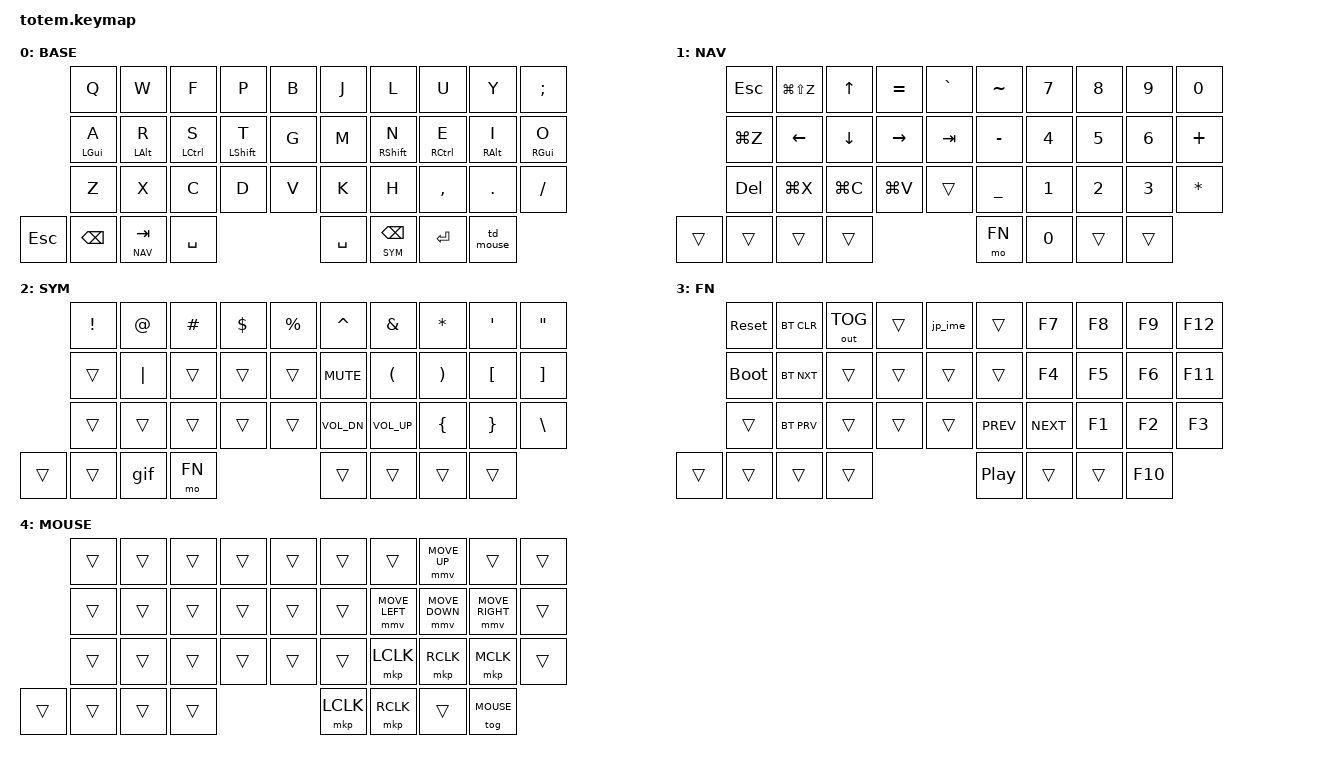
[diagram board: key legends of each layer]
//
//                                                        ▀▀▀▀▀     ▀▀▀▀▀          ▀▀█▀▀
//                                                        ▄▀▀▀▄  ▄  ▄▀▀▀▄  ▄  ▄▀▀▀▄  █  ▄▀▀▀▄
//                                                        █   █  █  █   █  █  █   █  █  █   █
//                                                         ▀▀▀   █   ▀▀▀   █   ▀▀▀   ▀   ▀▀▀
//                                                               █      ▄▄▄█▄▄▄    █   █
//                                                               ▀      █  █  █     █▄█
//                                                             ▀▀▀▀▀    █  █  █      ▀
//                                                                      ▀  ▀  ▀
//
// ▄▄▄▄▄▄▄▄▄▄▄▄▄▄▄▄▄▄▄▄▄▄▄▄▄▄▄▄▄▄▄▄▄▄▄▄▄▄▄▄▄▄▄▄▄▄▄▄▄▄▄▄▄▄▄▄▄▄▄▄▄▄▄▄▄▄▄▄▄▄▄▄▄▄▄▄▄▄▄▄▄▄▄▄▄▄▄▄▄▄▄▄▄▄▄▄▄▄▄▄▄▄▄▄▄▄▄▄▄▄▄▄▄▄▄▄▄▄▄▄▄▄▄▄▄▄▄▄▄▄▄▄▄▄▄▄▄▄▄▄▄▄▄▄▄▄▄▄▄
//
// Matrix position map (from totem.dtsi):
//
//   pos 0-9:   top alpha     (5 left + 5 right)
//   pos 10-19: home row      (5 left + 5 right)
//   pos 20-29: bottom alpha  (5 left + 5 right)
//   pos 30-37: pinky + thumb (pinky_L, 3 thumb_L, 3 thumb_R, pinky_R)
//


#include <behaviors.dtsi>
#include <dt-bindings/zmk/bt.h>
#include <dt-bindings/zmk/keys.h>
#include <dt-bindings/zmk/outputs.h>
#define ZMK_POINTING_DEFAULT_MOVE_VAL 1200
#include <dt-bindings/zmk/pointing.h>

#define BASE  0
#define NAV   1
#define SYM   2
#define FN    3
#define MOUSE 4

&mt {
    quick-tap-ms = <100>;
    require-prior-idle-ms = <150>;
    flavor = "tap-preferred";
    tapping-term-ms = <170>;
};

&mmv {
    time-to-max-speed-ms = <300>;
    acceleration-exponent = <1>;
};

/ {
    combos {
        compatible = "zmk,combos";

        combo_esc {
            timeout-ms = <50>;
            key-positions = <0 1>;
            bindings = <&kp ESC>;
        };

    };

    behaviors {
        td_mouse: td_mouse {
            compatible = "zmk,behavior-tap-dance";
            #binding-cells = <0>;
            tapping-term-ms = <200>;
            bindings = <&kp BSLH>, <&tog MOUSE>;
        };
    };

    macros {
        gif: gif {
            label = "giphy";
            compatible = "zmk,behavior-macro";
            #binding-cells = <0>;
            bindings =
                <&macro_press>,
                <&kp LSHFT>,
                <&macro_tap>,
                <&kp N2>,
                <&macro_release>,
                <&kp LSHFT>,
                <&macro_tap>,
                <&kp G &kp I &kp F>;
        };

        jp_ime: jp_ime {
            label = "jp_ime";
            compatible = "zmk,behavior-macro";
            #binding-cells = <0>;
            bindings =
                <&macro_press>,
                <&kp LCTRL>,
                <&macro_tap>,
                <&kp SPACE>,
                <&macro_release>,
                <&kp LCTRL>;
        };
    };

        keymap {
                compatible = "zmk,keymap";
// ▄▄▄▄▄▄▄▄▄▄▄▄▄▄▄▄▄▄▄▄▄▄▄▄▄▄▄▄▄▄▄▄▄▄▄▄▄▄▄▄▄▄▄▄▄▄▄▄▄▄▄▄▄▄▄▄▄▄▄▄▄▄▄▄▄▄▄▄▄▄▄▄▄▄▄▄▄▄▄▄▄▄▄▄▄▄▄▄▄▄▄▄▄▄▄▄▄▄▄▄▄▄▄▄▄▄▄▄▄▄▄▄▄▄▄▄▄▄▄▄▄▄▄▄▄▄▄▄▄▄▄▄▄▄▄▄▄▄▄▄▄▄▄▄▄▄▄▄▄

                base_layer {
// ┏━━━━━━━━━━━━━━━━━━━━━━━━━━━━━━━━━━━━━━━┓
label= "BASE"                              ;
// ┗━━━━━━━━━━━━━━━━━━━━━━━━━━━━━━━━━━━━━━━┛
//             ┏━━━━━━━━━━━┳━━━━━━━━━━━┳━━━━━━━━━━━┳━━━━━━━━━━━┳━━━━━━━━━━━┓   ┏━━━━━━━━━━━┳━━━━━━━━━━━┳━━━━━━━━━━━┳━━━━━━━━━━━┳━━━━━━━━━━━┓
//             ┃     Q     ┃     W     ┃     F     ┃     P     ┃     B     ┃   ┃     J     ┃     L     ┃     U     ┃     Y     ┃     ;     ┃
//             ┣━━━━━━━━━━━╋━━━━━━━━━━━╋━━━━━━━━━━━╋━━━━━━━━━━━╋━━━━━━━━━━━┫   ┣━━━━━━━━━━━╋━━━━━━━━━━━╋━━━━━━━━━━━╋━━━━━━━━━━━╋━━━━━━━━━━━┫
//             ┃    ⌘ A    ┃    ⌥ R    ┃    ⌃ S    ┃    ⇧ T    ┃     G     ┃   ┃     M     ┃    ⇧ N    ┃    ⌃ E    ┃    ⌥ I    ┃    ⌘ O    ┃
// ┏━━━━━━━━━━━╋━━━━━━━━━━━╋━━━━━━━━━━━╋━━━━━━━━━━━╋━━━━━━━━━━━╋━━━━━━━━━━━┫   ┣━━━━━━━━━━━╋━━━━━━━━━━━╋━━━━━━━━━━━╋━━━━━━━━━━━╋━━━━━━━━━━━╋━━━━━━━━━━━┓
// ┃    ESC    ┃     Z     ┃     X     ┃     C     ┃     D     ┃     V     ┃   ┃     K     ┃     H     ┃     ,     ┃     .     ┃     /     ┃ \ ⇥⇥MOUSE ┃
// ┗━━━━━━━━━━━┻━━━━━━━━━━━┻━━━━━━━━━━━╋━━━━━━━━━━━╋━━━━━━━━━━━╋━━━━━━━━━━━┫   ┣━━━━━━━━━━━╋━━━━━━━━━━━╋━━━━━━━━━━━╋━━━━━━━━━━━┻━━━━━━━━━━━┻━━━━━━━━━━━┛
//                                     ┃   BSPC    ┃ ▼NAV TAB  ┃    SPC    ┃   ┃    SPC    ┃▼SYM BSPC  ┃   ENTER   ┃
//                                     ┗━━━━━━━━━━━┻━━━━━━━━━━━┻━━━━━━━━━━━┛   ┗━━━━━━━━━━━┻━━━━━━━━━━━┻━━━━━━━━━━━┛
 bindings = <
// ╷           ╷           ╷           ╷           ╷           ╷   ╷           ╷           ╷           ╷           ╷           ╷
// pos 0-9:   top row
                &kp Q       &kp W       &kp F       &kp P       &kp B           &kp J       &kp L       &kp U       &kp Y       &kp SEMI
// pos 10-19: home row (home row mods)
                &mt LGUI A  &mt LALT R  &mt LCTRL S &mt LSHFT T &kp G           &kp M       &mt RSHFT N &mt RCTRL E &mt RALT I  &mt RGUI O
// pos 20-29: bottom alpha row
                &kp Z       &kp X       &kp C       &kp D       &kp V           &kp K       &kp H       &kp COMMA   &kp DOT     &kp FSLH
// pos 30-37: pinky_L, thumb_L x3, thumb_R x3, pinky_R
    &kp ESC     &kp BSPC    &lt NAV TAB &kp SPACE                               &kp SPACE   &lt SYM BSPC &kp RET    &td_mouse
                        >;
                };

// ▄▄▄▄▄▄▄▄▄▄▄▄▄▄▄▄▄▄▄▄▄▄▄▄▄▄▄▄▄▄▄▄▄▄▄▄▄▄▄▄▄▄▄▄▄▄▄▄▄▄▄▄▄▄▄▄▄▄▄▄▄▄▄▄▄▄▄▄▄▄▄▄▄▄▄▄▄▄▄▄▄▄▄▄▄▄▄▄▄▄▄▄▄▄▄▄▄▄▄▄▄▄▄▄▄▄▄▄▄▄▄▄▄▄▄▄▄▄▄▄▄▄▄▄▄▄▄▄▄▄▄▄▄▄▄▄▄▄▄▄▄▄▄▄▄▄▄▄▄


                nav_layer {
// ┏━━━━━━━━━━━━━━━━━━━━━━━━━━━━━━━━━━━━━━━┓
label= "NAV"                               ;
// ┗━━━━━━━━━━━━━━━━━━━━━━━━━━━━━━━━━━━━━━━┛
//             ┏━━━━━━━━━━━┳━━━━━━━━━━━┳━━━━━━━━━━━┳━━━━━━━━━━━┳━━━━━━━━━━━┓   ┏━━━━━━━━━━━┳━━━━━━━━━━━┳━━━━━━━━━━━┳━━━━━━━━━━━┳━━━━━━━━━━━┓
//             ┃    ESC    ┃   REDO    ┃     UP    ┃     =     ┃     `     ┃   ┃     ~     ┃     7     ┃     8     ┃     9     ┃     0     ┃
//             ┣━━━━━━━━━━━╋━━━━━━━━━━━╋━━━━━━━━━━━╋━━━━━━━━━━━╋━━━━━━━━━━━┫   ┣━━━━━━━━━━━╋━━━━━━━━━━━╋━━━━━━━━━━━╋━━━━━━━━━━━╋━━━━━━━━━━━┫
//             ┃   UNDO    ┃   LEFT    ┃    DOWN   ┃   RIGHT   ┃    TAB    ┃   ┃     -     ┃     4     ┃     5     ┃     6     ┃     +     ┃
// ┏━━━━━━━━━━━╋━━━━━━━━━━━╋━━━━━━━━━━━╋━━━━━━━━━━━╋━━━━━━━━━━━╋━━━━━━━━━━━┫   ┣━━━━━━━━━━━╋━━━━━━━━━━━╋━━━━━━━━━━━╋━━━━━━━━━━━╋━━━━━━━━━━━╋━━━━━━━━━━━┓
// ┃           ┃    DEL    ┃    CUT    ┃   COPY    ┃   PASTE   ┃           ┃   ┃     _     ┃     1     ┃     2     ┃     3     ┃     *     ┃           ┃
// ┗━━━━━━━━━━━┻━━━━━━━━━━━┻━━━━━━━━━━━╋━━━━━━━━━━━╋━━━━━━━━━━━╋━━━━━━━━━━━┫   ┣━━━━━━━━━━━╋━━━━━━━━━━━╋━━━━━━━━━━━╋━━━━━━━━━━━┻━━━━━━━━━━━┻━━━━━━━━━━━┛
//                                     ┃           ┃ ███ NAV ██┃           ┃   ┃   ▼ FN    ┃     0     ┃           ┃
//                                     ┗━━━━━━━━━━━┻━━━━━━━━━━━┻━━━━━━━━━━━┛   ┗━━━━━━━━━━━┻━━━━━━━━━━━┻━━━━━━━━━━━┛
 bindings = <
// pos 0-9:   top row
                &kp ESC     &kp LG(LS(Z))  &kp UP   &kp EQUAL   &kp GRAVE       &kp TILDE   &kp N7      &kp N8      &kp N9      &kp N0
// pos 10-19: home row
                &kp LG(Z)   &kp LEFT    &kp DOWN    &kp RIGHT   &kp TAB         &kp MINUS   &kp N4      &kp N5      &kp N6      &kp PLUS
// pos 20-29: bottom alpha row
                &kp DEL     &kp LG(X)   &kp LG(C)   &kp LG(V)   &trans          &kp UNDER   &kp N1      &kp N2      &kp N3      &kp STAR
// pos 30-37: pinky_L, thumb_L x3, thumb_R x3, pinky_R
    &trans      &trans      &trans      &trans                                    &mo FN      &kp N0      &trans      &trans
                        >;
                };

// ▄▄▄▄▄▄▄▄▄▄▄▄▄▄▄▄▄▄▄▄▄▄▄▄▄▄▄▄▄▄▄▄▄▄▄▄▄▄▄▄▄▄▄▄▄▄▄▄▄▄▄▄▄▄▄▄▄▄▄▄▄▄▄▄▄▄▄▄▄▄▄▄▄▄▄▄▄▄▄▄▄▄▄▄▄▄▄▄▄▄▄▄▄▄▄▄▄▄▄▄▄▄▄▄▄▄▄▄▄▄▄▄▄▄▄▄▄▄▄▄▄▄▄▄▄▄▄▄▄▄▄▄▄▄▄▄▄▄▄▄▄▄▄▄▄▄▄▄▄


                sym_layer {
// ┏━━━━━━━━━━━━━━━━━━━━━━━━━━━━━━━━━━━━━━━┓
label= "SYM"                               ;
// ┗━━━━━━━━━━━━━━━━━━━━━━━━━━━━━━━━━━━━━━━┛
//             ┏━━━━━━━━━━━┳━━━━━━━━━━━┳━━━━━━━━━━━┳━━━━━━━━━━━┳━━━━━━━━━━━┓   ┏━━━━━━━━━━━┳━━━━━━━━━━━┳━━━━━━━━━━━┳━━━━━━━━━━━┳━━━━━━━━━━━┓
//             ┃     !     ┃     @     ┃     #     ┃     $     ┃     %     ┃   ┃     ^     ┃     &     ┃     *     ┃     '     ┃     "     ┃
//             ┣━━━━━━━━━━━╋━━━━━━━━━━━╋━━━━━━━━━━━╋━━━━━━━━━━━╋━━━━━━━━━━━┫   ┣━━━━━━━━━━━╋━━━━━━━━━━━╋━━━━━━━━━━━╋━━━━━━━━━━━╋━━━━━━━━━━━┫
//             ┃           ┃     |     ┃           ┃           ┃           ┃   ┃   MUTE    ┃     (     ┃     )     ┃     [     ┃     ]     ┃
// ┏━━━━━━━━━━━╋━━━━━━━━━━━╋━━━━━━━━━━━╋━━━━━━━━━━━╋━━━━━━━━━━━╋━━━━━━━━━━━┫   ┣━━━━━━━━━━━╋━━━━━━━━━━━╋━━━━━━━━━━━╋━━━━━━━━━━━╋━━━━━━━━━━━╋━━━━━━━━━━━┓
// ┃           ┃           ┃           ┃           ┃           ┃           ┃   ┃   VOL-    ┃   VOL+    ┃     {     ┃     }     ┃     \     ┃           ┃
// ┗━━━━━━━━━━━┻━━━━━━━━━━━┻━━━━━━━━━━━╋━━━━━━━━━━━╋━━━━━━━━━━━╋━━━━━━━━━━━┫   ┣━━━━━━━━━━━╋━━━━━━━━━━━╋━━━━━━━━━━━╋━━━━━━━━━━━┻━━━━━━━━━━━┻━━━━━━━━━━━┛
//                                     ┃           ┃    GIF    ┃   ▼ FN    ┃   ┃           ┃ ███ SYM ██┃           ┃
//                                     ┗━━━━━━━━━━━┻━━━━━━━━━━━┻━━━━━━━━━━━┛   ┗━━━━━━━━━━━┻━━━━━━━━━━━┻━━━━━━━━━━━┛
 bindings = <
// pos 0-9:   top row
                &kp EXCL    &kp AT      &kp HASH    &kp DLLR    &kp PRCNT       &kp CARET   &kp AMPS    &kp STAR    &kp SQT     &kp DQT
// pos 10-19: home row
                &trans      &kp PIPE    &trans      &trans      &trans          &kp C_MUTE  &kp LPAR    &kp RPAR    &kp LBKT    &kp RBKT
// pos 20-29: bottom alpha row
                &trans      &trans      &trans      &trans      &trans          &kp C_VOL_DN &kp C_VOL_UP &kp LBRC   &kp RBRC    &kp BSLH
// pos 30-37: pinky_L, thumb_L x3, thumb_R x3, pinky_R
    &trans      &trans      &gif        &mo FN                                  &trans      &trans      &trans      &trans
                        >;
                };

// ▄▄▄▄▄▄▄▄▄▄▄▄▄▄▄▄▄▄▄▄▄▄▄▄▄▄▄▄▄▄▄▄▄▄▄▄▄▄▄▄▄▄▄▄▄▄▄▄▄▄▄▄▄▄▄▄▄▄▄▄▄▄▄▄▄▄▄▄▄▄▄▄▄▄▄▄▄▄▄▄▄▄▄▄▄▄▄▄▄▄▄▄▄▄▄▄▄▄▄▄▄▄▄▄▄▄▄▄▄▄▄▄▄▄▄▄▄▄▄▄▄▄▄▄▄▄▄▄▄▄▄▄▄▄▄▄▄▄▄▄▄▄▄▄▄▄▄▄▄


                fn_layer {
// ┏━━━━━━━━━━━━━━━━━━━━━━━━━━━━━━━━━━━━━━━┓
label= "FN"                                ;
// ┗━━━━━━━━━━━━━━━━━━━━━━━━━━━━━━━━━━━━━━━┛
//             ┏━━━━━━━━━━━┳━━━━━━━━━━━┳━━━━━━━━━━━┳━━━━━━━━━━━┳━━━━━━━━━━━┓   ┏━━━━━━━━━━━┳━━━━━━━━━━━┳━━━━━━━━━━━┳━━━━━━━━━━━┳━━━━━━━━━━━┓
//             ┃   RESET   ┃  BT CLR   ┃  OUT TOG  ┃           ┃  JP IME   ┃   ┃           ┃    F7     ┃    F8     ┃    F9     ┃    F12    ┃
//             ┣━━━━━━━━━━━╋━━━━━━━━━━━╋━━━━━━━━━━━╋━━━━━━━━━━━╋━━━━━━━━━━━┫   ┣━━━━━━━━━━━╋━━━━━━━━━━━╋━━━━━━━━━━━╋━━━━━━━━━━━╋━━━━━━━━━━━┫
//             ┃ BOOTLOAD  ┃  BT NEXT  ┃           ┃           ┃           ┃   ┃           ┃    F4     ┃    F5     ┃    F6     ┃    F11    ┃
// ┏━━━━━━━━━━━╋━━━━━━━━━━━╋━━━━━━━━━━━╋━━━━━━━━━━━╋━━━━━━━━━━━╋━━━━━━━━━━━┫   ┣━━━━━━━━━━━╋━━━━━━━━━━━╋━━━━━━━━━━━╋━━━━━━━━━━━╋━━━━━━━━━━━╋━━━━━━━━━━━┓
// ┃           ┃           ┃  BT PREV  ┃           ┃           ┃           ┃   ┃   PREV    ┃   NEXT    ┃    F1     ┃    F2     ┃    F3     ┃    F10    ┃
// ┗━━━━━━━━━━━┻━━━━━━━━━━━┻━━━━━━━━━━━╋━━━━━━━━━━━╋━━━━━━━━━━━╋━━━━━━━━━━━┫   ┣━━━━━━━━━━━╋━━━━━━━━━━━╋━━━━━━━━━━━╋━━━━━━━━━━━┻━━━━━━━━━━━┻━━━━━━━━━━━┛
//                                     ┃           ┃ ███ NAV ██┃           ┃   ┃   PLAY    ┃ ███ SYM ██┃           ┃
//                                     ┗━━━━━━━━━━━┻━━━━━━━━━━━┻━━━━━━━━━━━┛   ┗━━━━━━━━━━━┻━━━━━━━━━━━┻━━━━━━━━━━━┛
 bindings = <
// pos 0-9:   top row
                &sys_reset  &bt BT_CLR  &out OUT_TOG &trans     &jp_ime         &trans      &kp F7      &kp F8      &kp F9      &kp F12
// pos 10-19: home row
                &bootloader &bt BT_NXT  &trans      &trans      &trans          &trans      &kp F4      &kp F5      &kp F6      &kp F11
// pos 20-29: bottom alpha row
                &trans      &bt BT_PRV  &trans      &trans      &trans          &kp C_PREV  &kp C_NEXT  &kp F1      &kp F2      &kp F3
// pos 30-37: pinky_L, thumb_L x3, thumb_R x3, pinky_R
    &trans      &trans      &trans      &trans                                  &kp C_PP    &trans      &trans      &kp F10
                        >;
                };

// ▄▄▄▄▄▄▄▄▄▄▄▄▄▄▄▄▄▄▄▄▄▄▄▄▄▄▄▄▄▄▄▄▄▄▄▄▄▄▄▄▄▄▄▄▄▄▄▄▄▄▄▄▄▄▄▄▄▄▄▄▄▄▄▄▄▄▄▄▄▄▄▄▄▄▄▄▄▄▄▄▄▄▄▄▄▄▄▄▄▄▄▄▄▄▄▄▄▄▄▄▄▄▄▄▄▄▄▄▄▄▄▄▄▄▄▄▄▄▄▄▄▄▄▄▄▄▄▄▄▄▄▄▄▄▄▄▄▄▄▄▄▄▄▄▄▄▄▄▄


                mouse_layer {
// ┏━━━━━━━━━━━━━━━━━━━━━━━━━━━━━━━━━━━━━━━┓
label= "MOUSE"                             ;
// ┗━━━━━━━━━━━━━━━━━━━━━━━━━━━━━━━━━━━━━━━┛
//             ┏━━━━━━━━━━━┳━━━━━━━━━━━┳━━━━━━━━━━━┳━━━━━━━━━━━┳━━━━━━━━━━━┓   ┏━━━━━━━━━━━┳━━━━━━━━━━━┳━━━━━━━━━━━┳━━━━━━━━━━━┳━━━━━━━━━━━┓
//             ┃           ┃           ┃           ┃           ┃           ┃   ┃           ┃           ┃  MS UP    ┃           ┃           ┃
//             ┣━━━━━━━━━━━╋━━━━━━━━━━━╋━━━━━━━━━━━╋━━━━━━━━━━━╋━━━━━━━━━━━┫   ┣━━━━━━━━━━━╋━━━━━━━━━━━╋━━━━━━━━━━━╋━━━━━━━━━━━╋━━━━━━━━━━━┫
//             ┃           ┃           ┃           ┃           ┃           ┃   ┃           ┃  MS LEFT  ┃  MS DOWN  ┃ MS RIGHT  ┃           ┃
// ┏━━━━━━━━━━━╋━━━━━━━━━━━╋━━━━━━━━━━━╋━━━━━━━━━━━╋━━━━━━━━━━━╋━━━━━━━━━━━┫   ┣━━━━━━━━━━━╋━━━━━━━━━━━╋━━━━━━━━━━━╋━━━━━━━━━━━╋━━━━━━━━━━━╋━━━━━━━━━━━┓
// ┃           ┃           ┃           ┃           ┃           ┃           ┃   ┃           ┃  L CLICK  ┃  R CLICK  ┃  M CLICK  ┃           ┃ ⊘EXIT MSE ┃
// ┗━━━━━━━━━━━┻━━━━━━━━━━━┻━━━━━━━━━━━╋━━━━━━━━━━━╋━━━━━━━━━━━╋━━━━━━━━━━━┫   ┣━━━━━━━━━━━╋━━━━━━━━━━━╋━━━━━━━━━━━╋━━━━━━━━━━━┻━━━━━━━━━━━┻━━━━━━━━━━━┛
//                                     ┃           ┃           ┃           ┃   ┃  L CLICK  ┃  R CLICK  ┃           ┃
//                                     ┗━━━━━━━━━━━┻━━━━━━━━━━━┻━━━━━━━━━━━┛   ┗━━━━━━━━━━━┻━━━━━━━━━━━┻━━━━━━━━━━━┛
 bindings = <
// pos 0-9:   top row
                &trans      &trans      &trans      &trans      &trans          &trans      &trans      &mmv MOVE_UP &trans     &trans
// pos 10-19: home row
                &trans      &trans      &trans      &trans      &trans          &trans      &mmv MOVE_LEFT &mmv MOVE_DOWN &mmv MOVE_RIGHT &trans
// pos 20-29: bottom alpha row
                &trans      &trans      &trans      &trans      &trans          &trans      &mkp LCLK   &mkp RCLK   &mkp MCLK   &trans
// pos 30-37: pinky_L, thumb_L x3, thumb_R x3, pinky_R
    &trans      &trans      &trans      &trans                                  &mkp LCLK   &mkp RCLK   &trans      &tog MOUSE
                        >;
                };
        };
};
